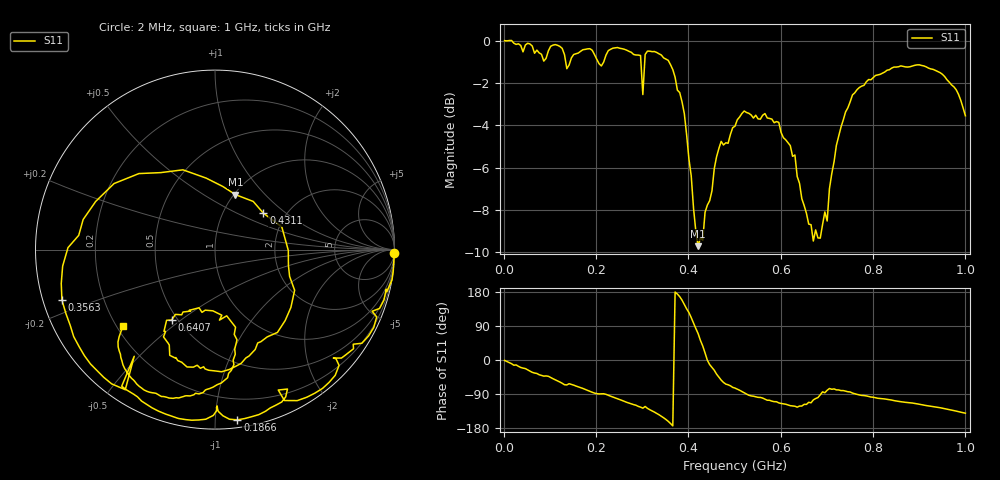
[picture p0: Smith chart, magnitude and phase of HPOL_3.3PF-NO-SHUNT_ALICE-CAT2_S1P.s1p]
!Agilent N9923A: A.07.32
!Date: Saturday, 22 February 2020 05:07:37
!Model: N9923A
!Serial: MY52412229
!GPS Latitude:
!GPS Longitude:
!GPS TimeStamp: 0001-01-01 00:00:00Z
!GPS Seconds Since Last Read: 0
!CHECKSUM:0980146369
!Correction: S11(ON U)
!S1P File: Measurement: S11:
# Hz S DB R 50
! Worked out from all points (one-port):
!   201 points, 2 MHz to 1 GHz, reference 50 ohm
!   lowest |S11| = -9.7 dB at 421.2 MHz (marker M1), VSWR 1.97, Z = 50.8 + j34.9 ohm
!   |S11| at or under -10 dB: nowhere
!   S11 on the Smith chart (normalised r, x): 2 MHz: open; 186.6 MHz: 0.05, -1.14; 356.3 MHz: 0.06, -0.16; 431.1 MHz: 1.54, +0.71; 640.7 MHz: 0.47, -0.46; 1 GHz: 0.23, -0.34
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2000000  -0.01 -1.1
6.188e7  -0.26 -32.5
1.018e8  -0.27 -46.3
1.2675e8  -0.37 -61.4
1.4172e8  -1.15 -62.5
1.8663e8  -0.39 -82.5
2.515e8  -0.37 -104.5
2.9641e8  -0.71 -124.3
3.014e8  -2.55 -127.1
3.0639e8  -0.66 -122.6
3.5629e8  -0.93 -161.8
3.7625e8  -2.35 174.0
3.8623e8  -2.89 158.0
3.9621e8  -4.45 135.0
4.2116e8  -9.71 69.5
4.3114e8  -9.44 36.9
4.5609e8  -6.05 -27.1
4.7106e8  -4.76 -53.0
5.01e8  -4.04 -74.1
5.6587e8  -3.45 -103.4
6.2575e8  -5.47 -121.1
6.4072e8  -6.74 -121.6
6.8563e8  -9.33 -92.0
7.0559e8  -6.99 -75.2
7.505e8  -2.89 -84.4
8.7525e8  -1.25 -112.3
9.4511e8  -1.52 -125.9
1e9  -3.55 -140.4
